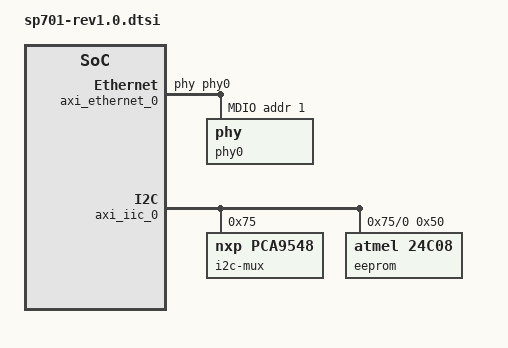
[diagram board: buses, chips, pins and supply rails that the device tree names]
&axi_ethernet_0 {
	phy-handle = <&phy0>;
	/delete-node/ mdio;
	axi_ethernet_mdio: mdio {
		#address-cells = <1>;
		#size-cells = <0>;
		phy0: phy@1 {
			device_type = "ethernet-phy";
			reg = <1>;
			ti,rx-internal-delay = <0x3>;
			ti,tx-internal-delay = <0x3>;
			ti,fifo-depth = <0x1>;
		};
	};
};

&axi_iic_0 {
	#address-cells = <1>;
	#size-cells = <0>;
	i2c-mux@75 {
		compatible = "nxp,pca9548";
		#address-cells = <1>;
		#size-cells = <0>;
		reg = <0x75>;
		i2c@0 {
			#address-cells = <1>;
			#size-cells = <0>;
			reg = <0>;
			eeprom@50 {
				compatible = "atmel,24c08";
				reg = <0x50>;
			};
		};
	};
};
